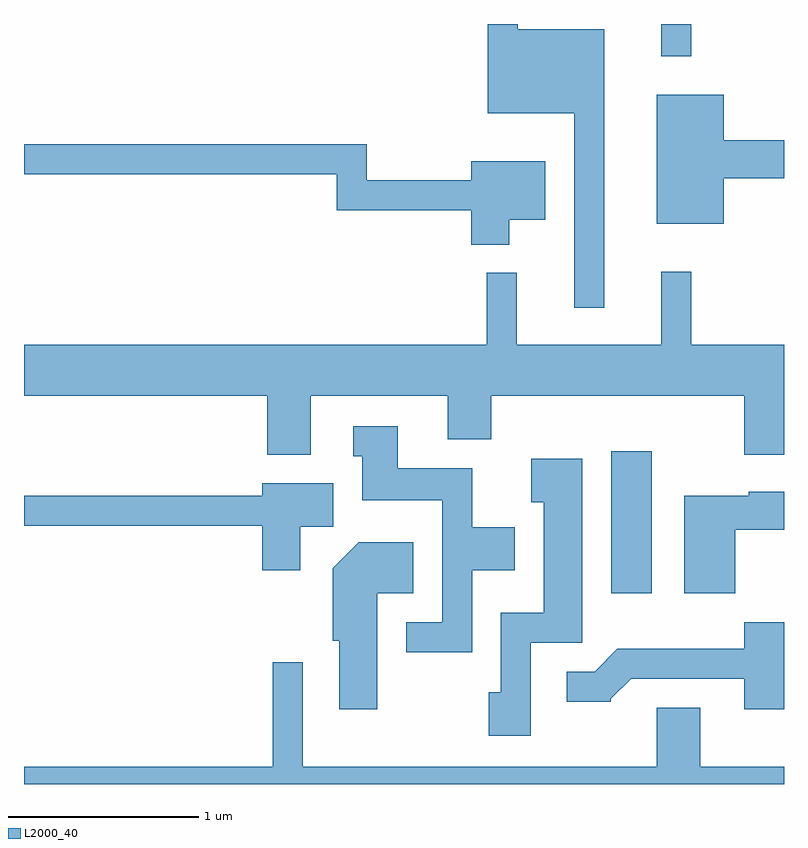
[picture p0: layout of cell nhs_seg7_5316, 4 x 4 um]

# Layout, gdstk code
import gdstk
lib = gdstk.Library(unit=1e-6, precision=1e-09)
def R(c, l, rs):  # rectangles x0, y0, x1, y1
    for r in rs: c.add(gdstk.rectangle(r[:2], r[2:], *l))
def P(c, l, *ps):  # polygons
    for p in ps: c.add(gdstk.Polygon(p, *l))
L2000_40 = (2000, 40)

nhs_seg7_5316 = lib.new_cell('nhs_seg7_5316')
R(nhs_seg7_5316, L2000_40, [(350.701,1733.256,350.914,1734.004), (350.966,1736.083,351.124,1736.252)])
P(nhs_seg7_5316, L2000_40, [(350.664,1736.224),(350.209,1736.224),(350.209,1736.252),(350.051,1736.252),(350.051,1735.781),(350.506,1735.781),(350.506,1734.758),(350.664,1734.758)],
  [(351.294,1735.441),(351.611,1735.441),(351.611,1735.639),(351.294,1735.639),(351.294,1735.879),(350.941,1735.879),(350.941,1735.201),(351.294,1735.201)],
  [(350.164,1735.221),(350.354,1735.221),(350.354,1735.529),(349.966,1735.529),(349.966,1735.429),(349.414,1735.429),(349.414,1735.619),(347.611,1735.619),(347.611,1735.461),(349.256,1735.461),(349.256,1735.271),(349.966,1735.271),(349.966,1735.091),(350.164,1735.091)],
  [(349.119,1734.296),(349.841,1734.296),(349.841,1734.066),(350.069,1734.066),(350.069,1734.296),(351.401,1734.296),(351.401,1733.986),(351.611,1733.986),(351.611,1734.564),(351.124,1734.564),(351.124,1734.948),(350.966,1734.948),(350.966,1734.564),(350.204,1734.564),(350.204,1734.943),(350.046,1734.943),(350.046,1734.564),(347.611,1734.564),(347.611,1734.296),(348.891,1734.296),(348.891,1733.986),(349.119,1733.986)],
  [(349.969,1733.376),(350.194,1733.376),(350.194,1733.604),(349.969,1733.604),(349.969,1733.914),(349.579,1733.914),(349.579,1734.134),(349.343,1734.134),(349.343,1733.976),(349.391,1733.976),(349.391,1733.746),(349.811,1733.746),(349.811,1733.104),(349.623,1733.104),(349.623,1732.946),(349.969,1732.946)],
  [(350.279,1732.996),(350.549,1732.996),(350.549,1733.964),(350.281,1733.964),(350.281,1733.736),(350.346,1733.736),(350.346,1733.154),(350.121,1733.154),(350.121,1732.734),(350.056,1732.734),(350.056,1732.506),(350.279,1732.506)],
  [(349.064,1733.606),(349.239,1733.606),(349.239,1733.834),(348.866,1733.834),(348.866,1733.769),(347.611,1733.769),(347.611,1733.611),(348.866,1733.611),(348.866,1733.376),(349.064,1733.376)],
  [(351.354,1733.591),(351.611,1733.591),(351.611,1733.789),(351.426,1733.789),(351.426,1733.769),(351.086,1733.769),(351.086,1733.256),(351.354,1733.256)],
  [(349.469,1733.256),(349.659,1733.256),(349.659,1733.524),(349.374,1733.524),(349.236,1733.387),(349.236,1733.006),(349.271,1733.006),(349.271,1732.646),(349.469,1732.646)],
  [(351.611,1733.104),(351.401,1733.104),(351.401,1732.964),(350.734,1732.964),(350.614,1732.844),(350.468,1732.844),(350.468,1732.686),(350.7,1732.686),(350.7,1732.7),(350.807,1732.806),(351.401,1732.806),(351.401,1732.646),(351.611,1732.646)],
  [(351.611,1732.344),(351.169,1732.344),(351.169,1732.654),(350.941,1732.654),(350.941,1732.344),(349.079,1732.344),(349.079,1732.893),(348.921,1732.893),(348.921,1732.344),(347.611,1732.344),(347.611,1732.252),(351.611,1732.252)])

lib.write_gds('nhs_seg7_5316.gds')
